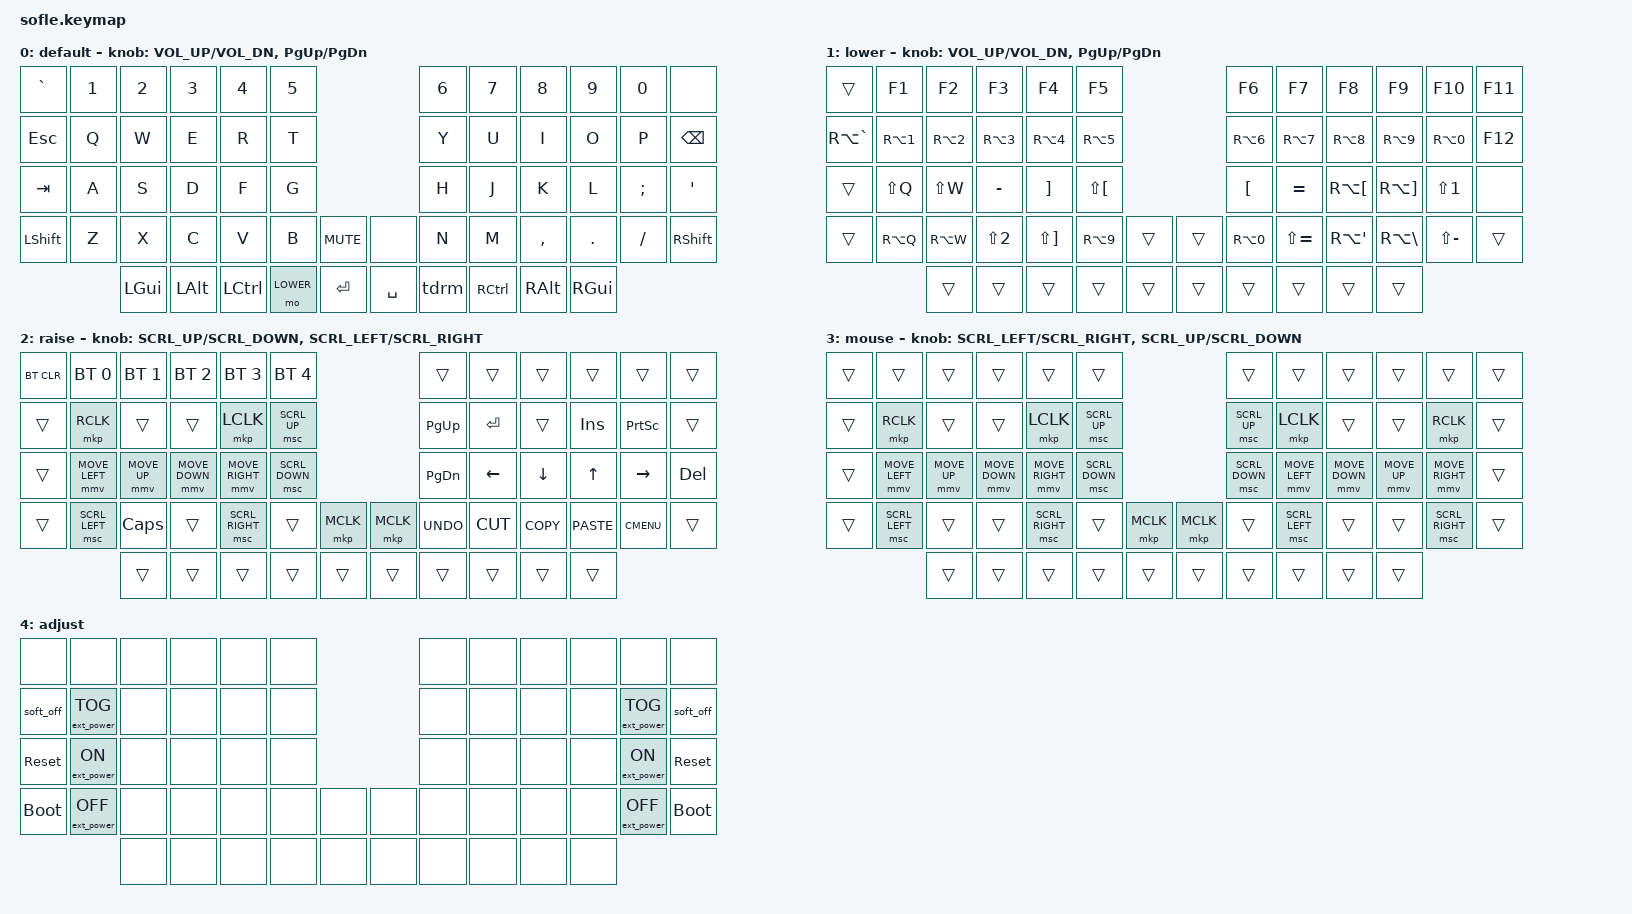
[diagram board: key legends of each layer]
/*
 * Copyright (c) 2020 The ZMK Contributors
 *
 * SPDX-License-Identifier: MIT
 */

#include <behaviors.dtsi>
#include <dt-bindings/zmk/keys.h>
#include <dt-bindings/zmk/bt.h>
#include <dt-bindings/zmk/rgb.h>
#include <dt-bindings/zmk/ext_power.h>

#define BASE 0
#define LOWER 1
#define RAISE 2
#define MOUSE 3
#define ADJUST 4

#define ZMK_POINTING_DEFAULT_MOVE_VAL 1200
#define ZMK_POINTING_DEFAULT_SCRL_VAL 20

#include <dt-bindings/zmk/pointing.h>

/ {
    behaviors {
        msc_encoder: msc_encoder {
            compatible = "zmk,behavior-sensor-rotate-var";
            #sensor-binding-cells = <2>;
            bindings = <&msc>, <&msc>;
        };

        tdrm: tap_dance_raise_mouse {
            compatible = "zmk,behavior-tap-dance";
            #binding-cells = <0>;
            tapping-term-ms = <200>;
            bindings = <&mo RAISE>, <&tog MOUSE>;
        };
    };

    // Activate ADJUST layer by pressing raise and lower
    conditional_layers {
        compatible = "zmk,conditional-layers";
        adjust_layer {
            if-layers = <LOWER RAISE>;
            then-layer = <ADJUST>;
        };
    };

    keymap {
        compatible = "zmk,keymap";

        default_layer {
            display-name = "default";

// These bindings have been adjusted for es-dvorak keyboard layout use
// ---------------------------------------------                  ---------------------------------------------------
// |    º   |  1  |  2  |   3  |   4   |   5   |                  |      6      |   7   |   8  |  9  |  0  |        |
// |   ESC  |  .  |  ,  |   Ñ  |   P   |   Y   |                  |      F      |   G   |   C  |  H  |  L  |  BKSPC |
// |   TAB  |  A  |  O  |   E  |   U   |   I   |--------  --------|      D      |   R   |   T  |  N  |  S  |    '   |
// | LSHIFT |  -  |  Q  |   J  |   K   |   X   |  MUTE |  |       |      B      |   M   |   W  |  V  |  Z  | RSHIFT |
// ---------------| GUI | LALT | LCTRL | LOWER | ENTER |  | SPACE | RAISE/MOUSE | RCTRL | RALT | GUI |---------------
//                --------------------------------------  --------------------------------------------               

            bindings = <
&kp GRAVE &kp N1 &kp N2   &kp N3   &kp N4    &kp N5                            &kp N6   &kp N7    &kp N8    &kp N9   &kp N0   &none
&kp ESC   &kp Q  &kp W    &kp E    &kp R     &kp T                             &kp Y    &kp U     &kp I     &kp O    &kp P    &kp BSPC
&kp TAB   &kp A  &kp S    &kp D    &kp F     &kp G                             &kp H    &kp J     &kp K     &kp L    &kp SEMI &kp SQT
&kp LSHFT &kp Z  &kp X    &kp C    &kp V     &kp B      &kp C_MUTE  &none      &kp N    &kp M     &kp COMMA &kp DOT  &kp FSLH &kp RSHFT
                 &kp LGUI &kp LALT &kp LCTRL &mo LOWER  &kp RET     &kp SPACE  &tdrm    &kp RCTRL &kp RALT  &kp RGUI
            >;

            sensor-bindings = <&inc_dec_kp C_VOL_UP C_VOL_DN &inc_dec_kp PG_UP PG_DN>;
        };

        lower_layer {
            display-name = "lower";

// These bindings have been adjusted for es-dvorak keyboard layout use
// -------------------------------------              -------------------------------------
// |     |  F1 |  F2 |  F3 |  F4 |  F5 |              |  F6 |  F7 |  F8 |  F9 | F10 | F11 |
// |  \  |  |  |  @  |  #  |  ~  |  ¦  |              |  ¬  |  ½  |  ⅛  |  ^  |  `  | F12 |
// |     |  :  |  ;  |  '  |  +  |  ^  |------  ------|  `  |  ¡  |  [  |  ]  |  !  |     |
// |     |  <  |  >  |  "  |  *  |  ^  |     |  |     |  `  |  ¿  |  {  |  }  |  ?  |     |
// ------------|     |     |     |     |     |  |     |     |     |     |     |------------
//             -------------------------------  -------------------------------

            bindings = <
&trans        &kp F1      &kp F2      &kp F3      &kp F4        &kp F5                        &kp F6      &kp F7        &kp F8        &kp F9        &kp F10       &kp F11
&kp RA(GRAVE) &kp RA(N1)  &kp RA(N2)  &kp RA(N3)  &kp RA(N4)    &kp RA(N5)                    &kp RA(N6)  &kp RA(N7)    &kp RA(N8)    &kp RA(N9)    &kp RA(N0)    &kp F12
&trans        &kp LS(Q)   &kp LS(W)   &kp MINUS   &kp RBKT      &kp LS(LBKT)                  &kp LBKT    &kp EQUAL     &kp RA(LBKT)  &kp RA(RBKT)  &kp LS(N1)    &none
&trans        &kp RA(Q)   &kp RA(W)   &kp LS(N2)  &kp LS(RBKT)  &kp RA(N9)    &trans  &trans  &kp RA(N0)  &kp LS(EQUAL) &kp RA(APOS)  &kp RA(BSLH)  &kp LS(MINUS) &trans
                          &trans      &trans      &trans        &trans        &trans  &trans  &trans      &trans        &trans        &trans
            >;

            sensor-bindings = <&inc_dec_kp C_VOL_UP C_VOL_DN &inc_dec_kp PG_UP PG_DN>;
        };

        raise_layer {
            display-name = "raise";

// -----------------------------------------------------------------------                -----------------------------------------------
// | BT CLR |    BT 1   |    BT 2   |    BT 3   |    BT 4    |    BT 5   |                |      |       |      |       |       |       |
// |        |    RCLK   |           |           |    LCLK    |  SCRL_UP  |                | PGUP | ENTER |      |  INS  | PSCRN |       |
// |        | MOVE_LEFT |  MOVE_UP  | MOVE_DOWN | MOVE_RIGHT | SCRL_DOWN |-------  -------| PGDN |   <-  |   v  |   ^   |   ->  |  DEL  |
// |        | SCRL_LEFT |    CLCK   |           | SCRL_RIGHT |           | MCLK |  | MCLK | UNDO |  CUT  | COPY | PASTE | CMENU |       |
// ---------------------|           |           |            |           |      |  |      |      |       |      |       |----------------
//                      ---------------------------------------------------------  --------------------------------------              

            bindings = <
&bt BT_CLR &bt BT_SEL 0   &bt BT_SEL 1  &bt BT_SEL 2    &bt BT_SEL 3    &bt BT_SEL 4                        &trans     &trans    &trans     &trans      &trans      &trans
&trans     &mkp RCLK      &trans        &trans          &mkp LCLK       &msc SCRL_UP                        &kp PG_UP  &kp RET   &trans     &kp INS     &kp PSCRN   &trans
&trans     &mmv MOVE_LEFT &mmv MOVE_UP  &mmv MOVE_DOWN  &mmv MOVE_RIGHT &msc SCRL_DOWN                      &kp PG_DN  &kp LEFT  &kp DOWN   &kp UP      &kp RIGHT   &kp DEL
&trans     &msc SCRL_LEFT &kp CLCK      &trans          &msc SCRL_RIGHT &trans         &mkp MCLK  &mkp MCLK &kp K_UNDO &kp K_CUT &kp K_COPY &kp K_PASTE &kp K_CMENU &trans
                          &trans        &trans          &trans          &trans         &trans     &trans    &trans     &trans    &trans     &trans
            >;

            sensor-bindings = <&msc_encoder SCRL_UP SCRL_DOWN &msc_encoder SCRL_LEFT SCRL_RIGHT>;
        };

        mouse_layer {
            display-name = "mouse";

// ------------------------------------------------------------------                ------------------------------------------------------------------
// |     |           |         |           |            |           |                |           |           |         |           |            |     |
// |     |    RCLK   |         |           |    LCLK    |  SCRL_UP  |                |  SCRL_UP  |    LCLK   |         |           |    RCLK    |     |
// |     | MOVE_LEFT | MOVE_UP | MOVE_DOWN | MOVE_RIGHT | SCRL_DOWN |-------  -------| SCRL_DOWN | MOVE_LEFT | MOVE_UP | MOVE_DOWN | MOVE_RIGHT |     |
// |     | SCRL_LEFT |         |           | SCRL_RIGHT |           | MCLK |  | MCLK |           | SCRL_LEFT |         |           | SCRL_RIGHT |     |
// ------------------|         |           |            |           |      |  |      |           |           |         |           |-------------------
//                   -------------------------------------------------------  ------------------------------------------------------

            bindings = <
&trans  &trans          &trans        &trans          &trans          &trans                              &trans          &trans          &trans          &trans          &trans          &trans
&trans  &mkp RCLK       &trans        &trans          &mkp LCLK       &msc SCRL_UP                        &msc SCRL_UP    &mkp LCLK       &trans          &trans          &mkp RCLK       &trans
&trans  &mmv MOVE_LEFT  &mmv MOVE_UP  &mmv MOVE_DOWN  &mmv MOVE_RIGHT &msc SCRL_DOWN                      &msc SCRL_DOWN  &mmv MOVE_LEFT  &mmv MOVE_DOWN  &mmv MOVE_UP    &mmv MOVE_RIGHT &trans
&trans  &msc SCRL_LEFT  &trans        &trans          &msc SCRL_RIGHT &trans         &mkp MCLK  &mkp MCLK &trans          &msc SCRL_LEFT  &trans          &trans          &msc SCRL_RIGHT &trans
                        &trans        &trans          &trans          &trans         &trans     &trans    &trans          &trans          &trans          &trans
            >;

            sensor-bindings = <&msc_encoder SCRL_LEFT SCRL_RIGHT &msc_encoder SCRL_UP SCRL_DOWN>;
        };

        adjust_layer {

// -----------------------------------------------              -----------------------------------------------
// |            |        |     |     |     |     |              |     |     |     |     |        |            |
// |  Soft Off  | EP TOG |     |     |     |     |              |     |     |     |     | EP TOG |  Soft Off  |
// |    RESET   |  EP ON |     |     |     |     |------  ------|     |     |     |     |  EP ON |    RESET   |
// | BOOTLOADER | EP OFF |     |     |     |     |     |  |     |     |     |     |     | EP OFF | BOOTLOADER |
// ----------------------|     |     |     |     |     |  |     |     |     |     |     |----------------------
//                       -------------------------------  -------------------------------                      

            display-name = "adjust";
            bindings = <
&none       &none             &none &none &none &none              &none &none &none &none &none             &none
&soft_off   &ext_power EP_TOG &none &none &none &none              &none &none &none &none &ext_power EP_TOG &soft_off
&sys_reset  &ext_power EP_ON  &none &none &none &none              &none &none &none &none &ext_power EP_ON  &sys_reset
&bootloader &ext_power EP_OFF &none &none &none &none &none  &none &none &none &none &none &ext_power EP_OFF &bootloader
                              &none &none &none &none &none  &none &none &none &none &none
            >;
        };

    };
};
